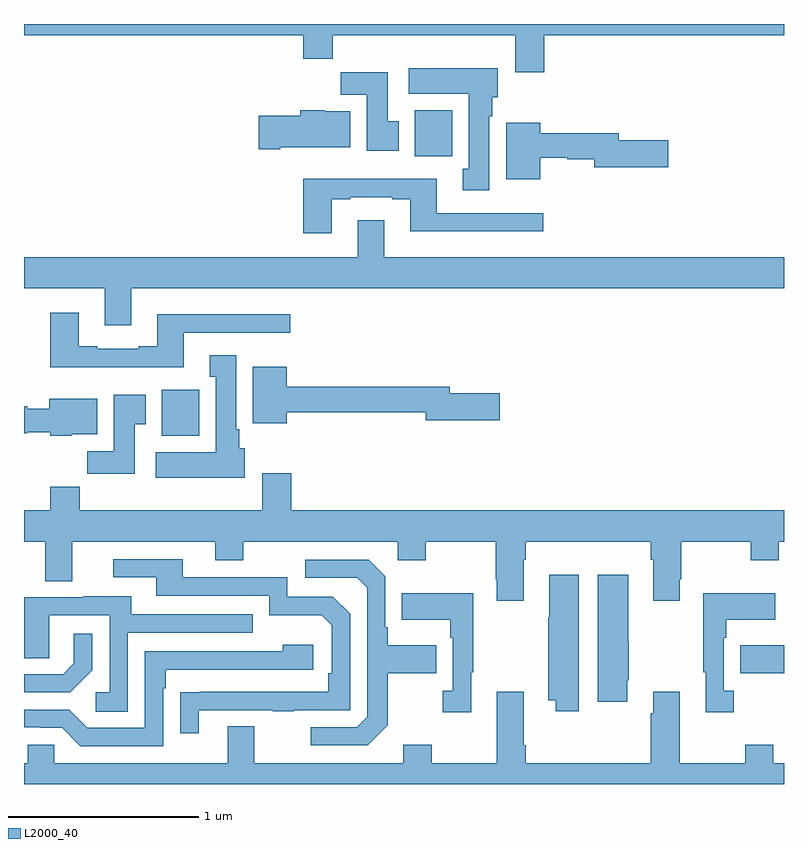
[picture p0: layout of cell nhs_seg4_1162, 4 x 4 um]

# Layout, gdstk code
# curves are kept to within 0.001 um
import gdstk
lib = gdstk.Library(unit=1e-6, precision=1e-09)
def R(c, l, rs):  # rectangles x0, y0, x1, y1
    for r in rs: c.add(gdstk.rectangle(r[:2], r[2:], *l))
def P(c, l, *ps):  # polygons
    for p in ps: c.add(gdstk.Polygon(p, *l))
L2000_40 = (2000, 40)

nhs_seg4_1162 = lib.new_cell('nhs_seg4_1162')
R(nhs_seg4_1162, L2000_40, [(174.769,773.482,175,773.629), (171.725,774.734,171.922,774.976), (173.057,776.204,173.254,776.446)])
P(nhs_seg4_1162, L2000_40, [(173.738,776.84),(175,776.84),(175,776.9),(171,776.9),(171,776.84),(172.469,776.84),(172.469,776.716),(172.625,776.716),(172.625,776.84),(173.585,776.84),(173.585,776.646),(173.738,776.646)],
  [(173.449,776.414),(173.464,776.414),(173.464,776.514),(173.494,776.514),(173.494,776.668),(173.025,776.668),(173.025,776.534),(173.342,776.534),(173.342,776.138),(173.309,776.138),(173.309,776.025),(173.449,776.025)],
  [(172.972,776.388),(172.915,776.388),(172.915,776.647),(172.666,776.647),(172.666,776.528),(172.805,776.528),(172.805,776.232),(172.972,776.232)],
  [(172.348,776.252),(172.717,776.252),(172.717,776.44),(172.584,776.44),(172.584,776.446),(172.454,776.446),(172.454,776.418),(172.236,776.418),(172.236,776.24),(172.348,776.24)],
  [(173.716,776.196),(173.859,776.196),(173.859,776.188),(174.002,776.188),(174.002,776.146),(174.391,776.146),(174.391,776.288),(174.13,776.288),(174.13,776.324),(173.716,776.324),(173.716,776.38),(173.537,776.38),(173.537,776.084),(173.716,776.084)],
  [(172.621,775.977),(172.717,775.977),(172.717,775.989),(172.937,775.989),(172.937,775.977),(173.033,775.977),(173.033,775.808),(173.734,775.808),(173.734,775.905),(173.173,775.905),(173.173,776.086),(172.469,776.086),(172.469,775.8),(172.621,775.8)],
  [(171.565,775.508),(175,775.508),(175,775.672),(172.897,775.672),(172.897,775.867),(172.757,775.867),(172.757,775.672),(171,775.672),(171,775.508),(171.425,775.508),(171.425,775.314),(171.565,775.314)],
  [(171.841,775.275),(172.402,775.275),(172.402,775.372),(171.701,775.372),(171.701,775.204),(171.605,775.204),(171.605,775.191),(171.385,775.191),(171.385,775.204),(171.289,775.204),(171.289,775.381),(171.137,775.381),(171.137,775.094),(171.841,775.094)],
  [(172.162,774.666),(172.132,774.666),(172.132,774.766),(172.117,774.766),(172.117,775.156),(171.977,775.156),(171.977,775.043),(172.01,775.043),(172.01,774.646),(171.693,774.646),(171.693,774.512),(172.162,774.512)],
  [(172.384,774.856),(173.114,774.856),(173.114,774.814),(173.503,774.814),(173.503,774.956),(173.242,774.956),(173.242,774.992),(172.384,774.992),(172.384,775.096),(172.205,775.096),(172.205,774.8),(172.384,774.8)],
  [(171.583,774.793),(171.64,774.793),(171.64,774.949),(171.473,774.949),(171.473,774.652),(171.334,774.652),(171.334,774.534),(171.583,774.534)],
  [(171.252,774.74),(171.385,774.74),(171.385,774.928),(171.134,774.928),(171.134,774.874),(171.018,774.874),(171.018,774.887),(171,774.887),(171,774.745),(171.018,774.745),(171.018,774.752),(171.138,774.752),(171.138,774.734),(171.252,774.734)],
  [(173.629,774.08),(173.642,774.08),(173.642,774.176),(174.299,774.176),(174.299,774.08),(174.311,774.08),(174.311,773.865),(174.451,773.865),(174.451,773.977),(174.459,773.977),(174.459,774.176),(174.826,774.176),(174.826,774.077),(174.972,774.077),(174.972,774.176),(175,774.176),(175,774.34),(172.406,774.34),(172.406,774.535),(172.253,774.535),(172.253,774.34),(171.293,774.34),(171.293,774.464),(171.137,774.464),(171.137,774.34),(171,774.34),(171,774.176),(171.113,774.176),(171.113,773.968),(171.253,773.968),(171.253,774.176),(172.007,774.176),(172.007,774.077),(172.155,774.077),(172.155,774.176),(172.968,774.176),(172.968,774.077),(173.115,774.077),(173.115,774.176),(173.482,774.176),(173.482,773.977),(173.489,773.977),(173.489,773.865),(173.629,773.865)],
  [(171.919,773.289),(172.309,773.289),(172.309,773.284),(172.421,773.284),(172.421,773.289),(172.716,773.289),(172.716,773.796),(172.626,773.886),(172.386,773.886),(172.386,773.988),(171.835,773.988),(171.835,774.084),(171.471,774.084),(171.471,773.988),(171.695,773.988),(171.695,773.892),(172.29,773.892),(172.29,773.789),(172.567,773.789),(172.62,773.736),(172.62,773.482),(172.6,773.482),(172.6,773.385),(171.823,773.384),(171.823,773.166),(171.919,773.166)],
  [(172.915,773.209),(172.915,773.482),(173.171,773.482),(173.171,773.629),(172.915,773.629),(172.915,773.725),(172.902,773.725),(172.902,773.994),(172.815,774.081),(172.479,774.081),(172.479,773.985),(172.755,773.985),(172.806,773.934),(172.806,773.253),(172.752,773.199),(172.509,773.199),(172.509,773.103),(172.809,773.103)],
  [(174.175,773.446),(174.183,773.446),(174.183,773.646),(174.181,773.646),(174.181,774.001),(174.02,774.001),(174.02,773.334),(174.175,773.334)],
  [(173.92,774.001),(173.765,774.001),(173.765,773.777),(173.758,773.777),(173.758,773.342),(173.798,773.342),(173.798,773.283),(173.92,773.283)],
  [(174.736,773.39),(174.684,773.39),(174.684,773.669),(174.697,773.669),(174.697,773.765),(174.953,773.765),(174.953,773.905),(174.576,773.905),(174.576,773.489),(174.587,773.489),(174.587,773.277),(174.736,773.277)],
  [(173.353,773.489),(173.365,773.489),(173.365,773.905),(172.987,773.905),(172.987,773.765),(173.244,773.765),(173.244,773.669),(173.256,773.669),(173.256,773.39),(173.205,773.39),(173.205,773.277),(173.353,773.277)],
  [(171.546,773.697),(172.205,773.697),(172.205,773.793),(171.565,773.793),(171.565,773.887),(171.311,773.887),(171.311,773.883),(171,773.883),(171,773.563),(171.132,773.563),(171.132,773.787),(171.45,773.787),(171.45,773.382),(171.378,773.382),(171.378,773.281),(171.546,773.281)],
  [(171.36,773.498),(171.36,773.692),(171.263,773.692),(171.263,773.535),(171.206,773.478),(171,773.478),(171,773.382),(171.244,773.382)],
  [(171.732,773.405),(171.745,773.405),(171.745,773.502),(172.522,773.502),(172.522,773.632),(172.361,773.632),(172.361,773.598),(171.636,773.598),(171.636,773.196),(171.333,773.196),(171.237,773.292),(171,773.292),(171,773.199),(171.083,773.199),(171.083,773.196),(171.201,773.196),(171.297,773.1),(171.732,773.1)],
  [(175,773.008),(174.943,773.008),(174.943,773.107),(174.796,773.107),(174.796,773.008),(174.451,773.008),(174.451,773.386),(174.311,773.386),(174.311,773.273),(174.299,773.273),(174.299,773.008),(173.642,773.008),(173.642,773.104),(173.629,773.104),(173.629,773.386),(173.489,773.386),(173.489,773.008),(173.145,773.008),(173.145,773.107),(172.997,773.107),(172.997,773.008),(172.213,773.008),(172.213,773.203),(172.073,773.203),(172.073,773.008),(171.159,773.008),(171.159,773.106),(171.021,773.106),(171.021,773.008),(171,773.008),(171,772.9),(175,772.9)])

lib.write_gds('nhs_seg4_1162.gds')
